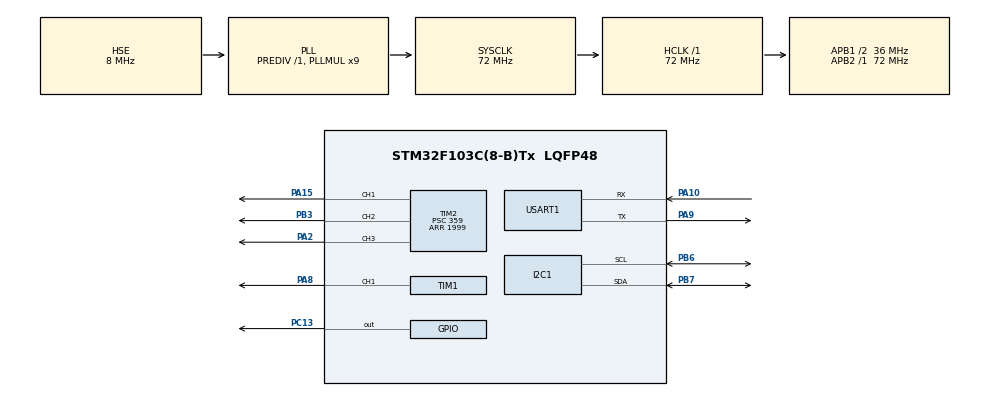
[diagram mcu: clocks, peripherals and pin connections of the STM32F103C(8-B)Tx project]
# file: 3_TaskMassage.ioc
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FREERTOS.Tasks01=defaultTask,24,128,StartDefaultTask,Default,NULL,Dynamic,NULL,NULL
Mcu.Family=STM32F1
Mcu.Name=STM32F103C(8-B)Tx
Mcu.Package=LQFP48
NVIC.PriorityGroup=NVIC_PRIORITYGROUP_4
NVIC.TIM4_IRQn=true\:15\:0\:false\:false\:true\:false\:false\:true\:true
NVIC.TimeBase=TIM4_IRQn
NVIC.TimeBaseIP=TIM4
NVIC.USART1_IRQn=true\:5\:0\:false\:false\:true\:true\:true\:true\:true
PA10.Mode=Asynchronous
PA10.Signal=USART1_RX
PA13.Mode=Serial_Wire
PA13.Signal=SYS_JTMS-SWDIO
PA14.Mode=Serial_Wire
PA14.Signal=SYS_JTCK-SWCLK
PA15.Signal=S_TIM2_CH1_ETR
PA2.Signal=S_TIM2_CH3
PA8.Signal=S_TIM1_CH1
PA9.Mode=Asynchronous
PA9.Signal=USART1_TX
PB3.Signal=S_TIM2_CH2
PB6.Mode=I2C
PB6.Signal=I2C1_SCL
PB7.Mode=I2C
PB7.Signal=I2C1_SDA
PC13-TAMPER-RTC.Signal=GPIO_Output
PC14-OSC32_IN.Mode=LSE-External-Oscillator
PC14-OSC32_IN.Signal=RCC_OSC32_IN
PC15-OSC32_OUT.Mode=LSE-External-Oscillator
PC15-OSC32_OUT.Signal=RCC_OSC32_OUT
PD0-OSC_IN.Mode=HSE-External-Oscillator
PD0-OSC_IN.Signal=RCC_OSC_IN
PD1-OSC_OUT.Mode=HSE-External-Oscillator
PD1-OSC_OUT.Signal=RCC_OSC_OUT
ProjectManager.HeapSize=0x200
ProjectManager.StackSize=0x400
ProjectManager.TargetToolchain=CMake
RCC.AHBFreq_Value=72000000
RCC.APB1CLKDivider=RCC_HCLK_DIV2
RCC.APB1Freq_Value=36000000
RCC.APB1TimFreq_Value=72000000
RCC.APB2Freq_Value=72000000
RCC.APB2TimFreq_Value=72000000
RCC.HCLKFreq_Value=72000000
RCC.PLLMUL=RCC_PLL_MUL9
RCC.PLLSourceVirtual=RCC_PLLSOURCE_HSE
RCC.SYSCLKFreq_VALUE=72000000
RCC.SYSCLKSource=RCC_SYSCLKSOURCE_PLLCLK
RCC.USBFreq_Value=72000000
SH.S_TIM1_CH1.0=TIM1_CH1,PWM Generation1 CH1
SH.S_TIM2_CH1_ETR.0=TIM2_CH1,PWM Generation1 CH1
SH.S_TIM2_CH2.0=TIM2_CH2,PWM Generation2 CH2
SH.S_TIM2_CH3.0=TIM2_CH3,PWM Generation3 CH3
TIM1.Channel-PWM\ Generation1\ CH1=TIM_CHANNEL_1
TIM1.Period=1000-1
TIM1.Prescaler=72-1
TIM1.Pulse-PWM\ Generation1\ CH1=500-1
TIM2.Channel-PWM\ Generation1\ CH1=TIM_CHANNEL_1
TIM2.Channel-PWM\ Generation2\ CH2=TIM_CHANNEL_2
TIM2.Channel-PWM\ Generation3\ CH3=TIM_CHANNEL_3
TIM2.Period=1999
TIM2.Prescaler=359
USART1.VirtualMode=VM_ASYNC
VP_FREERTOS_VS_CMSIS_V2.Mode=CMSIS_V2
VP_SYS_VS_tim4.Mode=TIM4
board=custom

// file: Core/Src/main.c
/* USER CODE BEGIN Header */
/**
  ******************************************************************************
  * @file           : main.c
  * @brief          : Main program body
  ******************************************************************************
  * @attention
  *
  * Copyright (c) 2026 STMicroelectronics.
  * All rights reserved.
  *
  * This software is licensed under terms that can be found in the LICENSE file
  * in the root directory of this software component.
  * If no LICENSE file comes with this software, it is provided AS-IS.
  *
  ******************************************************************************
  */
/* USER CODE END Header */
#include "main.h"
#include "cmsis_os.h"
#include "i2c.h"
#include "tim.h"
#include "usart.h"
#include "gpio.h"

void SystemClock_Config(void);
void MX_FREERTOS_Init(void);

int main(void)
{

  /* MCU Configuration--------------------------------------------------------*/

  /* Reset of all peripherals, Initializes the Flash interface and the Systick. */
  HAL_Init();

  /* Configure the system clock */
  SystemClock_Config();

  /* Initialize all configured peripherals */
  MX_GPIO_Init();
  MX_I2C1_Init();
  MX_TIM1_Init();
  MX_TIM2_Init();
  MX_USART1_UART_Init();

  /* Init scheduler */
  osKernelInitialize();  /* Call init function for freertos objects (in cmsis_os2.c) */
  MX_FREERTOS_Init();

  /* Start scheduler */
  osKernelStart();

  /* We should never get here as control is now taken by the scheduler */

  /* Infinite loop */
  while (1)
  {

  }
}

void SystemClock_Config(void)
{
  RCC_OscInitTypeDef RCC_OscInitStruct = {0};
  RCC_ClkInitTypeDef RCC_ClkInitStruct = {0};

  /** Initializes the RCC Oscillators according to the specified parameters
  * in the RCC_OscInitTypeDef structure.
  */
  RCC_OscInitStruct.OscillatorType = RCC_OSCILLATORTYPE_HSE;
  RCC_OscInitStruct.HSEState = RCC_HSE_ON;
  RCC_OscInitStruct.HSEPredivValue = RCC_HSE_PREDIV_DIV1;
  RCC_OscInitStruct.HSIState = RCC_HSI_ON;
  RCC_OscInitStruct.PLL.PLLState = RCC_PLL_ON;
  RCC_OscInitStruct.PLL.PLLSource = RCC_PLLSOURCE_HSE;
  RCC_OscInitStruct.PLL.PLLMUL = RCC_PLL_MUL9;
  if (HAL_RCC_OscConfig(&RCC_OscInitStruct) != HAL_OK)
  {
    Error_Handler();
  }

  /** Initializes the CPU, AHB and APB buses clocks
  */
  RCC_ClkInitStruct.ClockType = RCC_CLOCKTYPE_HCLK|RCC_CLOCKTYPE_SYSCLK
                              |RCC_CLOCKTYPE_PCLK1|RCC_CLOCKTYPE_PCLK2;
  RCC_ClkInitStruct.SYSCLKSource = RCC_SYSCLKSOURCE_PLLCLK;
  RCC_ClkInitStruct.AHBCLKDivider = RCC_SYSCLK_DIV1;
  RCC_ClkInitStruct.APB1CLKDivider = RCC_HCLK_DIV2;
  RCC_ClkInitStruct.APB2CLKDivider = RCC_HCLK_DIV1;

  if (HAL_RCC_ClockConfig(&RCC_ClkInitStruct, FLASH_LATENCY_2) != HAL_OK)
  {
    Error_Handler();
  }
}

void HAL_TIM_PeriodElapsedCallback(TIM_HandleTypeDef *htim)
{
  if (htim->Instance == TIM4)
  {
    HAL_IncTick();
  }
}

void Error_Handler(void)
{
  __disable_irq();
  while (1)
  {
  }
}

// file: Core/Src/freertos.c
/* USER CODE BEGIN Header */
/**
  ******************************************************************************
  * File Name          : freertos.c
  * Description        : Code for freertos applications
  ******************************************************************************
  * @attention
  *
  * Copyright (c) 2026 STMicroelectronics.
  * All rights reserved.
  *
  * This software is licensed under terms that can be found in the LICENSE file
  * in the root directory of this software component.
  * If no LICENSE file comes with this software, it is provided AS-IS.
  *
  ******************************************************************************
  */
/* USER CODE END Header */

#include "FreeRTOS.h"
#include "task.h"
#include "main.h"
#include "cmsis_os.h"

/* USER CODE BEGIN Includes */
#include "usart.h"
#include "driver_led.h"
#include "driver_passive_buzzer.h"
#include "driver_lcd.h"
#include "driver_timer.h"
#include "driver_color_led.h"

#include "driver_oled.h"

#include <stdint.h>
/* USER CODE END Includes */

/* USER CODE BEGIN PM */

static uint8_t rxData;
static uint8_t rxMusicData;

// 串口接收完成回调函数
void HAL_UART_RxCpltCallback(UART_HandleTypeDef *huart)
{
    if(huart->Instance == USART1)  // 判断是哪个串口
    {
        // 在这里处理收到的数据
          rxMusicData = rxData;
          rxData = 0x00;
        // 重要！如果要继续接收，必须重新开启
        HAL_UART_Receive_IT(&huart1, &rxData, 1);
    }
}
/* USER CODE END PM */

/* USER CODE BEGIN Variables */
static TaskHandle_t  SoundStaticTask ;
static TaskHandle_t  SoundInsideTask = NULL;
static UBaseType_t reg;

static StackType_t  LightStaticBuffer[128];
static StaticTask_t   LightTaskBuffer;
static TaskHandle_t LightStaticTask;

static StackType_t  ColorStaticBuffer[128];
static StaticTask_t   ColorTaskBuffer;
static TaskHandle_t ColorStaticTask;

/* USER CODE END Variables */
/* Definitions for defaultTask */
osThreadId_t defaultTaskHandle;
const osThreadAttr_t defaultTask_attributes = {
  .name = "defaultTask",
  .stack_size = 128 * 4,
  .priority = (osPriority_t) osPriorityNormal,
};

/* USER CODE BEGIN FunctionPrototypes */
void MusicTask(void *argument)
{
  while(1)
  {
    BadApple_Play();
    vTaskDelay(50);
  }

}

void SoundTask(void *argument)
{

  PassiveBuzzer_Init();
  uint8_t Running = 1;
  HAL_UART_Receive_IT(&huart1, &rxData, 1);
  LCD_Clear();
  LCD_PrintString(6, 0, "Ready");

  while(1)
  {
    /* 启动/暂停 信号 */
    if(0x01 == rxMusicData)
    {
      rxMusicData = 0x00;
      /* 创建任务 */
      extern void MusicTask(void *argument);

      if(SoundInsideTask == NULL)
      {
        /* 创建任务 */

        LCD_Clear();
        LCD_PrintString(0, 0, "Creat Task");

        reg = xTaskCreate(MusicTask, "BadApple", 128, NULL, osPriorityNormal + 1 , &SoundInsideTask);

      }
      else
      {
        if(Running)
        {
          LCD_Clear();
          LCD_PrintString(0, 0, "Suspend Task");

          vTaskSuspend(SoundInsideTask);
          PassiveBuzzer_Control(0);
          Running = 0;
        }
        else
        {
          LCD_Clear();
          LCD_PrintString(0, 0, "Resume Task");

          vTaskResume(SoundInsideTask);
          Running = 1;
        }
      }
    }
    /* 删除信号 */
    if(0x02 == rxMusicData)
    {
      rxMusicData = 0x00;

      if(SoundInsideTask != NULL)
      {
        LCD_Clear();
        LCD_PrintString(0, 0, "Delete Task");

        vTaskDelete(SoundInsideTask);
        SoundInsideTask = NULL;
        PassiveBuzzer_Control(0);
      }
    }
   vTaskDelay(50);
  }

}

// void LedTask(void *argument)
// {
//   while(1)
//   {
//     Led_Test();
//   }
//   vTaskDelay(50);
// }

void LightTask(void *argument)
{
  while(1)
  {
    Led_Test();
     vTaskDelay(50);
  }

}

void ColorTask(void *argument)
{
  while(1)
  {
    ColorLED_Test();
    vTaskDelay(50);
  }

}

/* 多任务调用同一函数 */
// struct Task_Record{
//   uint8_t x;
//   uint8_t y;
//   char Task[16];
// };

// static struct Task_Record Task1Info = {0, 0, "Task1"};
// static struct Task_Record Task2Info = {0, 3, "Task2"};
// static struct Task_Record Task3Info = {0, 6, "Task3"};

// static uint8_t LcdCanUse = 1;

// void RecordTask(void *params)
// {
//   LCD_Init();
//   LCD_Clear();
//   struct Task_Record *Info = params;
//   uint32_t cnt = 0;
//   int len ;
//   while(1)
//   {
//     if(LcdCanUse)
//     {
//       // LcdCanUse = 0;
//       len = LCD_PrintString(Info->x, Info->y, Info->Task);
//       len += LCD_PrintString(len,Info->y,":");
//       LCD_PrintSignedVal(len, Info-> y, cnt++);
//       // LcdCanUse = 1;
//     }

//     vTaskDelay(50);
//   }
// }

/* USER CODE END FunctionPrototypes */

void StartDefaultTask(void *argument);

void MX_FREERTOS_Init(void); /* (MISRA C 2004 rule 8.1) */

void MX_FREERTOS_Init(void) {
  /* USER CODE BEGIN Init */
  LCD_Init();
  LCD_Clear();
  /* USER CODE END Init */

  /* Create the thread(s) */
  /* creation of defaultTask */
  // defaultTaskHandle = osThreadNew(StartDefaultTask, NULL, &defaultTask_attributes);

  /* USER CODE BEGIN RTOS_THREADS */
  /* add threads, ... */
  reg = xTaskCreate(SoundTask, "Sound", 128*4, NULL, osPriorityNormal , &SoundStaticTask);

  // reg = xTaskCreate(LedTask, "Led", 128, NULL, osPriorityNormal , NULL);

  LightStaticTask = xTaskCreateStatic(LightTask, "Light", 128, NULL,  osPriorityNormal, LightStaticBuffer, &LightTaskBuffer);

  ColorStaticTask = xTaskCreateStatic(ColorTask, "Color", 128, NULL, osPriorityNormal, ColorStaticBuffer , &ColorTaskBuffer);

  // xTaskCreate(RecordTask, "Task1", 128, &Task1Info, osPriorityNormal, NULL);
  // xTaskCreate(RecordTask, "Task2", 128, &Task2Info, osPriorityNormal, NULL);
  // xTaskCreate(RecordTask, "Task3", 128, &Task3Info, osPriorityNormal, NULL);

  /* USER CODE END RTOS_THREADS */

}

void StartDefaultTask(void *argument)
{
  /* USER CODE BEGIN StartDefaultTask */
  /* Infinite loop */
  for(;;)
  {
    OLED_Test();
    vTaskDelay(100);
  }
  /* USER CODE END StartDefaultTask */
}
